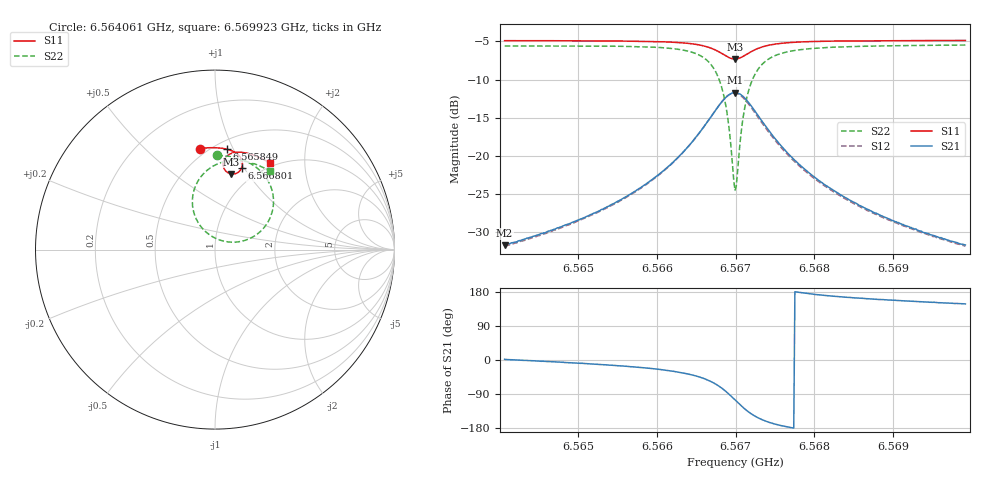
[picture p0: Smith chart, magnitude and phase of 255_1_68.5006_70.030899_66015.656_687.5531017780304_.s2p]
#  HZ  S  RI  R  50.00
! Rohde & Schwarz Vector Network Analyzer
! Rohde-Schwarz,ZNB20-2Port,1311601062101988,3.16
! Created: UTC 3/20/2024, 5:00:00 PM
! freq[Hz]  re:S11  im:S11  re:S21  im:S21  re:S12  im:S12  re:S22  im:S22
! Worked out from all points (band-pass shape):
!   401 points, 6.564061 GHz to 6.569923 GHz, reference 50 ohm
!   highest |S21| = -11.71 dB at 6.566992 GHz (marker M1); lowest = -31.7 dB at 6.564061 GHz (marker M2)
!   |S21| within 3 dB of the highest: 6.566698 GHz to 6.567284 GHz (586.8 kHz wide, 0.00894 % of centre)
!   lowest |S11| = -7.3 dB at 6.566992 GHz (marker M3), VSWR 2.52, Z = 40.3 + j41.8 ohm
!   |S11| at or under -10 dB: nowhere
!   |S22| runs from -24.5 to -5.5 dB; largest |S21 - S12| = 0.012
!   S11 on the Smith chart (normalised r, x): 6.564061 GHz: 0.45, +0.75; 6.565849 GHz: 0.58, +0.94; 6.566801 GHz: 0.83, +0.97; 6.569923 GHz: 0.94, +1.35
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6.5640607e9  -0.0854 0.5626  0.0259 0.000784  0.0255 0.000242  0.0131 0.5249
6.5650426e9  -0.00619 0.568  0.0383 -0.00582  0.0377 -0.00655  0.1025 0.5148
6.5658487e9  0.066 0.5595  0.0606 -0.0231  0.0596 -0.0239  0.1983 0.479
6.5660245e9  0.0838 0.5543  0.0687 -0.0318  0.0676 -0.0324  0.2252 0.4615
6.5663323e9  0.1175 0.5377  0.0876 -0.0596  0.0861 -0.0608  0.2806 0.4063
6.5665668e9  0.1439 0.5099  0.1014 -0.1077  0.0993 -0.1098  0.3216 0.3133
6.5666987e9  0.1528 0.4819  0.0972 -0.1565  0.0934 -0.1593  0.3211 0.2202
6.5668013e9  0.1477 0.453  0.0712 -0.2063  0.0648 -0.2089  0.2767 0.1266
6.5668892e9  0.1278 0.4295  0.0199 -0.2446  0.0106 -0.2452  0.1838 0.0575
6.5669185e9  0.1176 0.4243  -0.00356 -0.2521  -0.0136 -0.2513  0.1413 0.0451
6.5669625e9  0.0997 0.421  -0.0424 -0.2551  -0.053 -0.2515  0.0721 0.0429
6.5669918e9  0.0875 0.4221  -0.0687 -0.2505  -0.079 -0.2452  0.0261 0.0534
6.5670211e9  0.0759 0.426  -0.0938 -0.2408  -0.1031 -0.2337  -0.0164 0.0733
6.5670797e9  0.0573 0.4408  -0.1342 -0.2095  -0.1408 -0.1999  -0.0824 0.1332
6.5671237e9  0.049 0.4554  -0.1539 -0.1802  -0.158 -0.1699  -0.1115 0.1867
6.5671823e9  0.0453 0.4752  -0.1662 -0.1409  -0.1675 -0.1312  -0.1258 0.2567
6.5672556e9  0.0494 0.4966  -0.1659 -0.0988  -0.1648 -0.0907  -0.1175 0.3293
6.5675194e9  0.0885 0.5348  -0.1245 -0.0215  -0.1218 -0.018  -0.0225 0.4576
6.5679737e9  0.147 0.5422  -0.0741 0.00801  -0.0723 0.00904  0.0969 0.4964
6.5683988e9  0.1886 0.5347  -0.0514 0.0132  -0.0502 0.0136  0.1639 0.4925
6.5689557e9  0.2348 0.5189  -0.0357 0.0142  -0.0349 0.0145  0.2258 0.4759
6.5699229e9  0.3044 0.4831  -0.0221 0.0138  -0.0215 0.0138  0.306 0.4361
